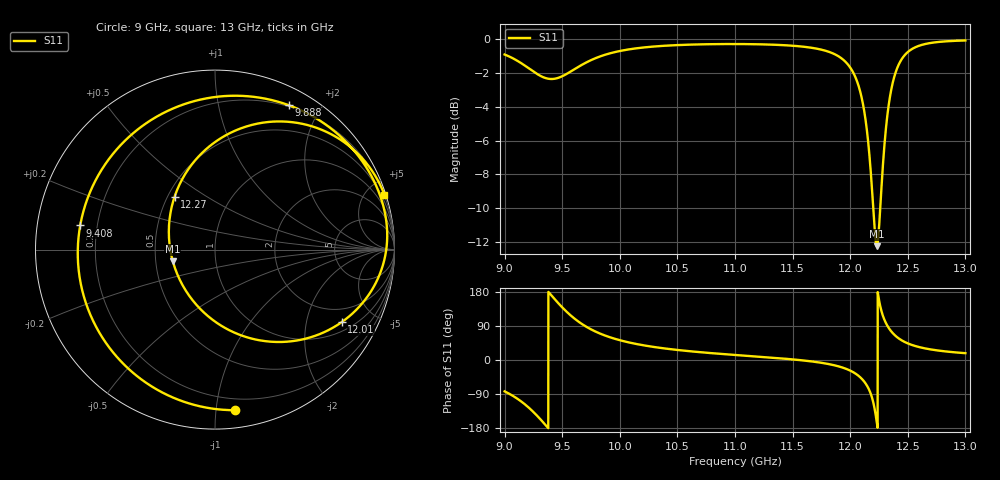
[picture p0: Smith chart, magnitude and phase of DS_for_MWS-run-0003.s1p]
! TOUCHSTONE file generated by CST DESIGN STUDIO
! Date and time: Tue Feb  4 17:24:06 2025
! Project name: C:\Work\MatlabApps\UnitCellOptimizationMatlab\CST\unitcell.cst
! Tree item: Tasks\Sweep1\SPara1\S-Parameters
! Header version: 2024
! Port assignment regex: !\s*Touchstone port\s*([0-9]+)\s*=\s*(CST MWS port|CST DES external port|CST DES block port)\s*(.+)\s* \(\"(.*)\"\)(\s*mode\s*([0-9]+))?.*
! Touchstone port assignment:
! Touchstone port 1 = CST DES external port 1 ("")
# GHz S MA R 50
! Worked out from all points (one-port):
!   4001 points, 9 GHz to 13 GHz, reference 50 ohm
!   lowest |S11| = -12.3 dB at 12.23 GHz (marker M1), VSWR 1.64, Z = 30.7 - j4.23 ohm
!   |S11| at or under -10 dB: 12.19994 GHz to 12.26083 GHz (60.89 MHz wide, 0.498 % of centre)
!   S11 on the Smith chart (normalised r, x): 9 GHz: 0.12, -1.13; 9.408 GHz: 0.14, +0.09; 9.888 GHz: 0.19, +1.62; 12.01 GHz: 1.35, -3.23; 12.27 GHz: 0.54, +0.37; 13 GHz: 0.15, +6.32
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9  0.9019 -82.8
9.11  0.8643 -102.0
9.203  0.8239 -123.9
9.315  0.7782 -157.8
9.408  0.763 169.8
9.5  0.7775 138.9
9.577  0.8042 116.7
9.66  0.8365 97.3
9.888  0.9038 62.8
10  0.9236 52.3
10.216  0.947 38.2
10.5  0.9617 26.5
11  0.9687 13.3
11.5  0.9576 1.6
11.825  0.916 -11.5
12  0.8253 -28.0
12.012  0.8133 -29.8
12.082  0.7102 -44.2
12.146  0.5342 -67.9
12.188  0.365 -97.8
12.231  0.2438 -164.6
12.273  0.3709 127.4
12.315  0.565 94.6
12.359  0.717 74.5
12.426  0.8485 56.0
12.5  0.9171 43.8
12.681  0.9735 28.8
13  0.9926 18.0
